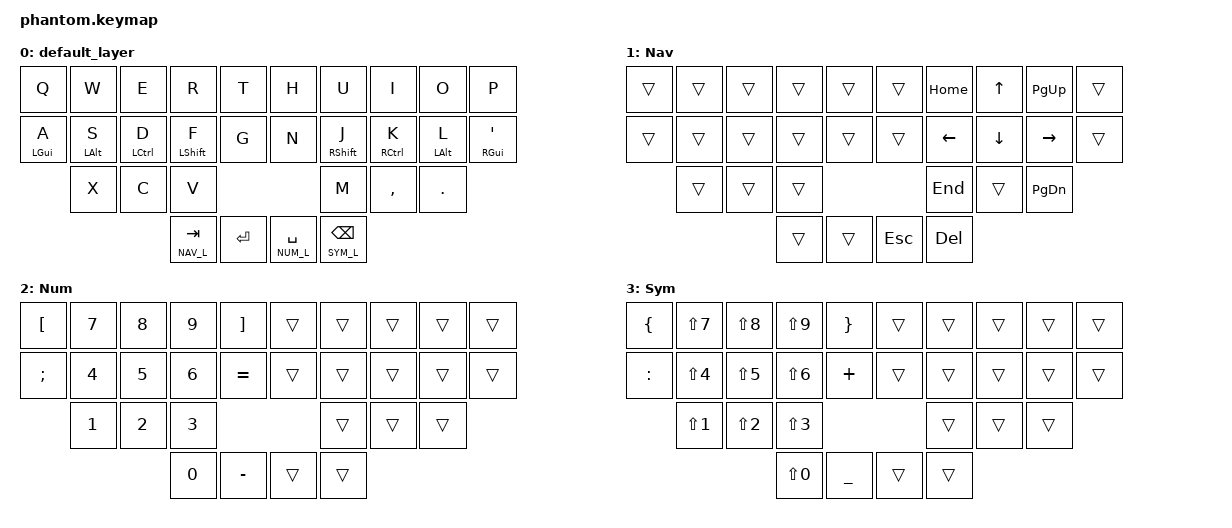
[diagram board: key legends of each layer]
/*
 * Copyright (c) 2020 The ZMK Contributors
 *
 * SPDX-License-Identifier: MIT
 */

#include <behaviors.dtsi>
#include <dt-bindings/zmk/keys.h>
#include <dt-bindings/zmk/bt.h>

#define DEF_L 0
#define NAV_L 1
#define NUM_L 2
#define SYM_L 3

&lt { quick-tap-ms = <200>; };

/ { 

/*           30 Keys
╭──────────────╮ ╭──────────────╮
│ 0  1  2  3  4│ │ 5  6  7  8  9│
│10 11 12 13 14│ │15 16 17 18 19│
│   20 21 22   │ │   23 24 25   │
╰────────╮26 27│ │28 29╭────────╯
         ╰─────╯ ╰─────╯       */
		
		behaviors {
        hm: homerow_mods {
            compatible = "zmk,behavior-hold-tap";
            #binding-cells = <2>;
            tapping-term-ms = <225>;
            flavor = "tap-preferred";
            bindings = <&kp>, <&kp>;
        };
    };

		combos {
        compatible = "zmk,combos";
        combo_z {
            timeout-ms = <50>;
            key-positions = <20 21>;
            bindings = <&kp Z>;
        };
        combo_b {
            timeout-ms = <50>;
            key-positions = <21 22>;
            bindings = <&kp B>;
        };

        combo_y {
            timeout-ms = <50>;
            key-positions = <23 24>;
            bindings = <&kp Y>;
        };

        combo_slash {
            timeout-ms = <50>;
            key-positions = <24 25>;
            bindings = <&kp SLASH>;
        };
    };

		combos {
        compatible = "zmk,combos";
        combo_z {
            timeout-ms = <50>;
            key-positions = <20 21>;
            bindings = <&kp Z>;
        };
        combo_b {
            timeout-ms = <50>;
            key-positions = <21 22>;
            bindings = <&kp B>;
        };

        combo_y {
            timeout-ms = <50>;
            key-positions = <23 24>;
            bindings = <&kp Y>;
        };

        combo_slash {
            timeout-ms = <50>;
            key-positions = <24 25>;
            bindings = <&kp SLASH>;
        };
    };
		
		keymap {
        compatible = "zmk,keymap";

        default_layer {
            bindings = <
                &kp Q      &kp W      &kp E       &kp R           &kp T        &kp H            &kp U          &kp I       &kp O      &kp P
                &hm LGUI A &hm LALT S &hm LCTRL D &hm LSHFT F     &kp G        &kp N            &hm RSHFT J    &hm RCTRL K &hm LALT L &hm RGUI SQT
                           &kp X      &kp C       &kp V                                         &kp M          &kp COMMA  &kp DOT
                                                  &lt NAV_L TAB  &kp RET       &lt NUM_L SPACE  &lt SYM_L BSPC
            >;
        };

        nav_layer {
            display-name = "Nav";
            bindings = <
                &trans     &trans     &trans      &trans          &trans       &trans           &kp HOME       &kp UP &kp PG_UP  &trans
                &trans     &trans     &trans      &trans          &trans       &trans           &kp LEFT       &kp DOWN &kp RIGHT   &trans
                           &trans     &trans      &trans                                        &kp END        &trans   &kp PG_DN
                                                  &trans          &trans       &kp ESC          &kp DEL
            >;
        };

        num_layer {
            display-name = "Num";
            bindings = <
                &kp LBKT   &kp N7     &kp N8      &kp N9          &kp RBKT      &trans          &trans         &trans      &trans     &trans
                &kp SEMI   &kp N4     &kp N5      &kp N6          &kp EQUAL     &trans          &trans         &trans      &trans     &trans
                           &kp N1     &kp N2      &kp N3                                        &trans         &trans      &trans
                                                  &kp N0          &kp MINUS     &trans          &trans
            >;
        };

        sym_layer {
            display-name = "Sym";
            bindings = <
                &kp LBRC   &kp LS(N7) &kp LS(N8)  &kp LS(N9)      &kp RBRC      &trans          &trans         &trans      &trans     &trans
                &kp COLON  &kp LS(N4) &kp LS(N5)  &kp LS(N6)      &kp PLUS      &trans          &trans         &trans      &trans     &trans
                           &kp LS(N1) &kp LS(N2)  &kp LS(N3)                                    &trans         &trans      &trans
                                                  &kp LS(N0)      &kp UNDER     &trans          &trans
            >;
        };
    };
};
